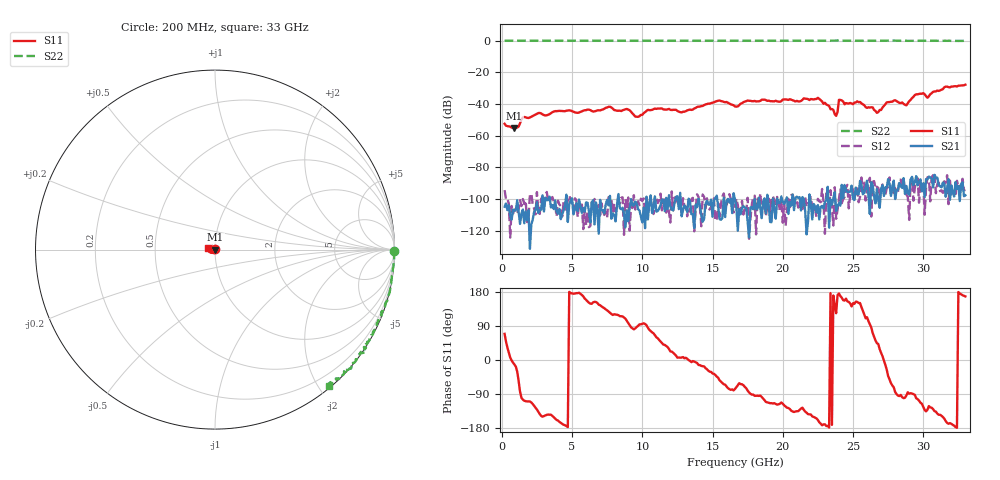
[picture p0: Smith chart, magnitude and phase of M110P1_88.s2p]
# GHZ S RI R 50
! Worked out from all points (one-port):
!   329 points, 200 MHz to 33 GHz, reference 50 ohm
!   lowest |S11| = -55.2 dB at 900 MHz (marker M1), VSWR 1.00, Z = 50.2 - j0.0358 ohm
!   |S11| at or under -10 dB: start of sweep to end of sweep
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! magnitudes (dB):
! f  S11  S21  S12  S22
! 200 MHz  -52.5  -105.0  -94.4  0.0
! 900 MHz  -55.2  -107.5  -106.7  0.0
! 1.5 GHz  -48.5  -106.7  -100.1  0.0
! 2.6 GHz  -45.8  -109.0  -107.3  0.0
! 5.7 GHz  -44.7  -108.8  -103.6  0.0
! 7.7 GHz  -41.8  -98.1  -98.9  0.0
! 9.7 GHz  -48.1  -106.5  -101.5  0.0
! 11.2 GHz  -42.9  -106.3  -101.1  0.0
! 12.8 GHz  -45.3  -111.0  -108.5  0.0
! 15.5 GHz  -37.8  -112.8  -111.1  0.0
! 16.6 GHz  -41.6  -100.2  -105.0  -0.1
! 22.1 GHz  -37.1  -113.0  -105.8  -0.1
! 22.5 GHz  -36.1  -103.9  -100.0  -0.1
! 23.8 GHz  -47.5  -107.6  -112.6  0.1
! 24 GHz  -37.4  -102.6  -99.9  0.0
! 25.5 GHz  -38.7  -88.6  -98.8  -0.1
! 26.7 GHz  -45.6  -93.6  -92.3  0.0
! 27.6 GHz  -38.8  -90.6  -86.5  0.0
! 28.8 GHz  -40.9  -91.8  -97.3  -0.1
! 29.5 GHz  -33.9  -85.6  -88.6  -0.1
! 30.3 GHz  -36.1  -87.6  -86.4  0.0
! 33 GHz  -27.8  -97.7  -94.3  -0.1
